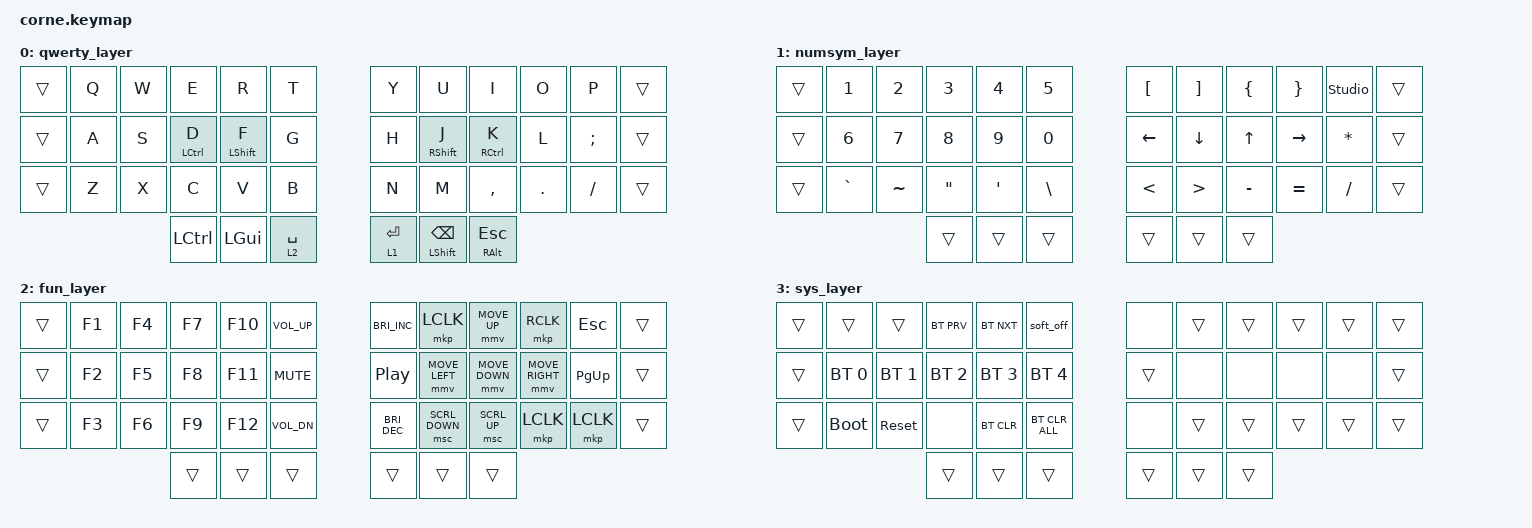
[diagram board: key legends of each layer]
/*
 * Copyright (c) 2020 The ZMK Contributors
 *
 * SPDX-License-Identifier: MIT
 */

#include <behaviors.dtsi>
#include <dt-bindings/zmk/bt.h>
#include <dt-bindings/zmk/keys.h>
#include <dt-bindings/zmk/pointing.h>

&soft_off {
    hold-time-ms = <5000>; // Only turn off it the key is held for 5 seconds or longer.
};

&soft_off { /delete-property/ split-peripheral-off-on-press; };

&mt {
    tapping-term-ms = <400>;
    quick-tap-ms = <175>;
    require-prior-idle-ms = <150>;
    flavor = "balanced";
};

&lt { tapping-term-ms = <400>; };

&mmv {
    trigger-period-ms = <8>;
    delay-ms = <0>;
    time-to-max-speed-ms = <400>;
};

/ {
    combos {
        compatible = "zmk,combos";

        combo_esc {
            timeout-ms = <50>;
            key-positions = <1 2>;
            bindings = <&kp ESCAPE>;
        };

        combo_bksp {
            timeout-ms = <50>;
            key-positions = <21 22>;
            bindings = <&kp BACKSPACE>;
        };

        combo_tab {
            bindings = <&kp TAB>;
            key-positions = <14 15>;
        };

        combo_shift {
            bindings = <&kp LEFT_SHIFT>;
            key-positions = <25 26>;
        };

        combo_delete {
            bindings = <&kp DELETE>;
            key-positions = <9 10>;
        };

        combo_rshift {
            bindings = <&kp RIGHT_SHIFT>;
            key-positions = <33 34>;
        };

        exclm {
            bindings = <&kp EXCLAMATION>;
            key-positions = <1 13>;
        };

        at {
            bindings = <&kp AT_SIGN>;
            key-positions = <2 14>;
        };

        hash {
            bindings = <&kp HASH>;
            key-positions = <3 15>;
        };

        dllr {
            bindings = <&kp DOLLAR>;
            key-positions = <4 16>;
        };

        percnt {
            bindings = <&kp PERCENT>;
            key-positions = <5 17>;
        };

        caret {
            bindings = <&kp CARET>;
            key-positions = <6 18>;
        };

        and {
            bindings = <&kp AMPERSAND>;
            key-positions = <7 19>;
        };

        str {
            bindings = <&kp ASTERISK>;
            key-positions = <8 20>;
        };

        leftparen {
            bindings = <&kp LPAR>;
            key-positions = <9 21>;
        };

        rparen {
            bindings = <&kp RPAR>;
            key-positions = <10 22>;
        };

        system_reset {
            bindings = <&sys_reset>;
            key-positions = <3 4 5>;
        };

        bootloader {
            bindings = <&bootloader>;
            key-positions = <15 16 17>;
        };

        system_layer_combo {
            bindings = <&mo 3>;
            key-positions = <36 37>;
        };

        combo_copy {
            bindings = <&copy_macro>;
            key-positions = <15 27>;
        };

        combo_paste {
            bindings = <&paste_macro>;
            key-positions = <16 28>;
        };

        combo_cut {
            bindings = <&cut_macro>;
            key-positions = <14 26>;
        };

        combo_ss {
            bindings = <&ss_macro>;
            key-positions = <14 37>;
        };

        combo_plainpaste {
            bindings = <&pastewithoutediting_macro>;
            key-positions = <4 16 28>;
        };

        combo_capslock {
            bindings = <&kp CAPSLOCK>;
            key-positions = <13 25>;
        };
    };

    conditional_layers { compatible = "zmk,conditional-layers"; };

    macros {
        copy_macro: copy_macro {
            compatible = "zmk,behavior-macro";
            #binding-cells = <0>;
            bindings = <&kp LC(C)>;
            label = "COPY_MACRO";
        };

        paste_macro: paste_macro {
            compatible = "zmk,behavior-macro";
            #binding-cells = <0>;
            bindings = <&kp LC(V)>;
            label = "PASTE_MACRO";
        };

        cut_macro: cut_macro {
            compatible = "zmk,behavior-macro";
            #binding-cells = <0>;
            bindings = <&kp LC(X)>;
            label = "CUT_MACRO";
        };

        ss_macro: ss_macro {
            compatible = "zmk,behavior-macro";
            #binding-cells = <0>;
            bindings = <&kp LG(LS(S))>;
            label = "SS_MACRO";
        };

        pastewithoutediting_macro: pastewithoutediting_macro {
            compatible = "zmk,behavior-macro";
            #binding-cells = <0>;
            bindings = <&kp LC(LS(V))>;
            label = "PASTEWITHOUTEDITING_MACRO";
        };
    };

    behaviors {
        hml: hml {
            compatible = "zmk,behavior-hold-tap";
            label = "HML";
            bindings = <&kp>, <&kp>;

            #binding-cells = <2>;
            tapping-term-ms = <280>;
            quick-tap-ms = <175>;
            require-prior-idle-ms = <125>;
            flavor = "balanced";
            hold-trigger-key-positions = <39 40 41 30 18 6 7 19 31 8 20 32 9 21 33 10 22 34>;
        };

        hmr: hmr {
            compatible = "zmk,behavior-hold-tap";
            label = "HMR";
            bindings = <&kp>, <&kp>;

            #binding-cells = <2>;
            tapping-term-ms = <280>;
            quick-tap-ms = <175>;
            require-prior-idle-ms = <125>;
            flavor = "balanced";
            hold-trigger-key-positions = <1 2 4 5 13 14 15 16 17 25 26 27 28 29 3 38 37 36>;
        };
    };

    keymap {
        compatible = "zmk,keymap";

        qwerty_layer {
            bindings = <
&trans  &kp Q  &kp W  &kp E             &kp R              &kp T          &kp Y        &kp U                     &kp I              &kp O    &kp P     &trans
&trans  &kp A  &kp S  &hml LCTRL D      &hml LEFT_SHIFT F  &kp G          &kp H        &hmr RIGHT_SHIFT J        &hmr RCTRL K       &kp L    &kp SEMI  &trans
&trans  &kp Z  &kp X  &kp C             &kp V              &kp B          &kp N        &kp M                     &kp COMMA          &kp DOT  &kp FSLH  &trans
                      &kp LEFT_CONTROL  &kp LEFT_GUI       &lt 2 SPACE    &lt 1 ENTER  &mt LEFT_SHIFT BACKSPACE  &mt RIGHT_ALT ESC
            >;
        };

        numsym_layer {
            bindings = <
&trans  &kp N1        &kp N2     &kp N3   &kp N4   &kp N5          &kp LEFT_BRACKET  &kp RIGHT_BRACKET  &kp LEFT_BRACE  &kp RIGHT_BRACE  &studio_unlock  &trans
&trans  &kp NUMBER_6  &kp N7     &kp N8   &kp N9   &kp NUMBER_0    &kp LEFT          &kp DOWN           &kp UP          &kp RIGHT        &kp ASTERISK    &trans
&trans  &kp GRAVE     &kp TILDE  &kp DQT  &kp SQT  &kp BSLH        &kp LESS_THAN     &kp GREATER_THAN   &kp MINUS       &kp EQUAL        &kp SLASH       &trans
                                 &trans   &trans   &trans          &trans            &trans             &trans
            >;
        };

        fun_layer {
            bindings = <
&trans  &kp F1  &kp F4  &kp F7  &kp F10  &kp C_VOL_UP    &kp C_BRIGHTNESS_INC  &mkp LCLK       &mmv MOVE_UP    &mkp RCLK        &kp ESC    &trans
&trans  &kp F2  &kp F5  &kp F8  &kp F11  &kp C_MUTE      &kp C_PLAY_PAUSE      &mmv MOVE_LEFT  &mmv MOVE_DOWN  &mmv MOVE_RIGHT  &kp PG_UP  &trans
&trans  &kp F3  &kp F6  &kp F9  &kp F12  &kp C_VOL_DN    &kp C_BRIGHTNESS_DEC  &msc SCRL_DOWN  &msc SCRL_UP    &mkp LCLK        &mkp LCLK  &trans
                        &trans  &trans   &trans          &trans                &trans          &trans
            >;
        };

        sys_layer {
            bindings = <
&trans  &trans        &trans        &bt BT_PRV    &bt BT_NXT    &soft_off         &none   &trans  &trans  &trans  &trans  &trans
&trans  &bt BT_SEL 0  &bt BT_SEL 1  &bt BT_SEL 2  &bt BT_SEL 3  &bt BT_SEL 4      &trans  &none   &none   &none   &none   &trans
&trans  &bootloader   &sys_reset    &none         &bt BT_CLR    &bt BT_CLR_ALL    &none   &trans  &trans  &trans  &trans  &trans
                                    &trans        &trans        &trans            &trans  &trans  &trans
            >;
        };
    };
};
